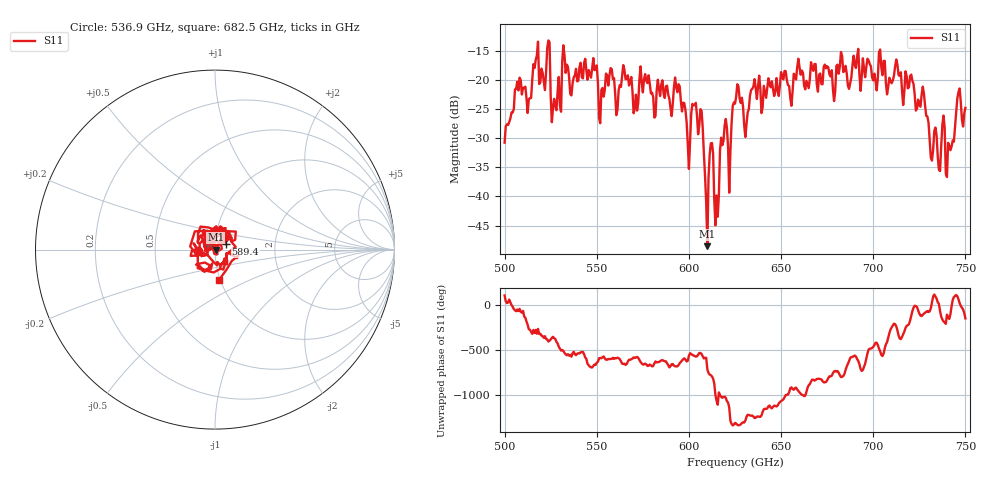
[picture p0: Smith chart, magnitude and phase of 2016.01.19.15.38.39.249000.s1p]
!Created with skrf (http://scikit-rf.org).
# GHz S RI R 50.0
!freq ReS11 ImS11
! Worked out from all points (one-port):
!   401 points, 500 GHz to 750 GHz, reference 50 ohm
!   lowest |S11| = -48.5 dB at 610 GHz (marker M1), VSWR 1.01, Z = 50.4 + j0.0245 ohm
!   |S11| at or under -10 dB: start of sweep to end of sweep
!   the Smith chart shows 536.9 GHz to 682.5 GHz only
!   S11 on the Smith chart (normalised r, x): 536.9 GHz: 0.83, -0.01; 589.4 GHz: 1.13, +0.07; 682.5 GHz: 0.98, -0.35
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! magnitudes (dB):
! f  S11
! 500 GHz  -30.8
! 507.5 GHz  -21.8
! 513.1 GHz  -23.3
! 516.9 GHz  -16.6
! 523.8 GHz  -13.3
! 526.9 GHz  -23.3
! 531.2 GHz  -16.9
! 536.9 GHz  -20.6
! 562.5 GHz  -20.9
! 589.4 GHz  -23.3
! 593.8 GHz  -22.1
! 599.4 GHz  -31.0
! 602.5 GHz  -24.4
! 606.9 GHz  -25.3
! 610 GHz  -48.5
! 611.9 GHz  -30.9
! 615 GHz  -39.8
! 618.1 GHz  -31.2
! 621.9 GHz  -39.4
! 625 GHz  -24.1
! 656.2 GHz  -22.0
! 682.5 GHz  -15.2
! 687.5 GHz  -20.6
! 718.8 GHz  -21.5
! 735.6 GHz  -35.4
! 740.6 GHz  -30.8
! 746.2 GHz  -22.1
! 750 GHz  -24.8
